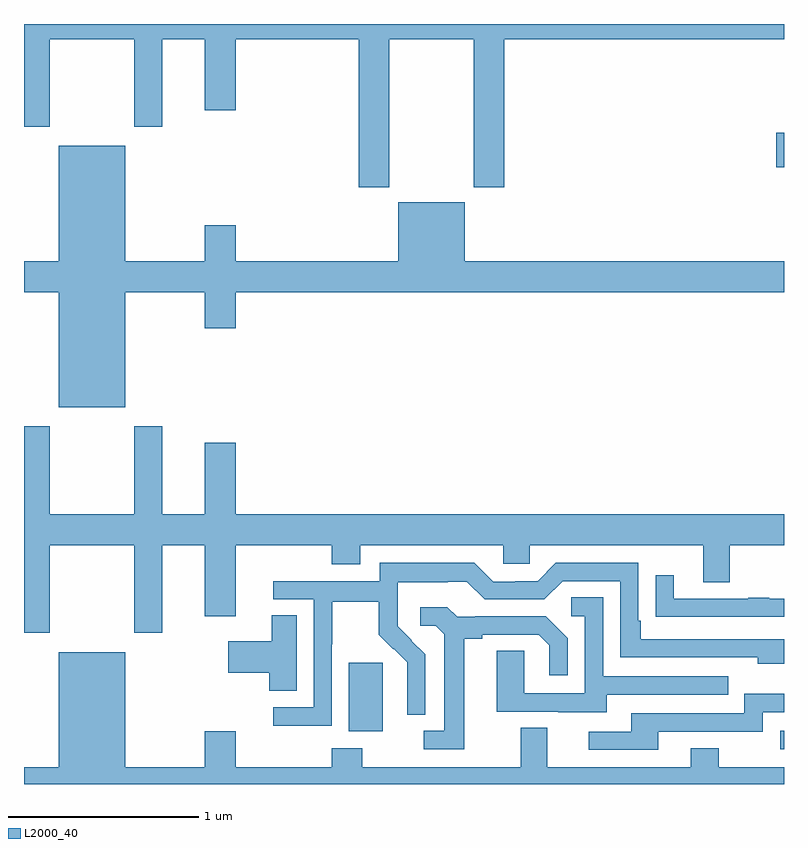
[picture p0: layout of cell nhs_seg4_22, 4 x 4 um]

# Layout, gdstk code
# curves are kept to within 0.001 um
import gdstk
lib = gdstk.Library(unit=1e-6, precision=1e-09)
def R(c, l, rs):  # rectangles x0, y0, x1, y1
    for r in rs: c.add(gdstk.rectangle(r[:2], r[2:], *l))
def P(c, l, *ps):  # polygons
    for p in ps: c.add(gdstk.Polygon(p, *l))
L2000_40 = (2000, 40)

nhs_seg4_22 = lib.new_cell('nhs_seg4_22')
R(nhs_seg4_22, L2000_40, [(114.981,793.083,115,793.179), (112.709,793.178,112.888,793.539), (114.96,796.145,115,796.328)])
P(nhs_seg4_22, L2000_40, [(112.923,796.82),(113.368,796.82),(113.368,796.041),(113.528,796.041),(113.528,796.82),(115,796.82),(115,796.9),(111,796.9),(111,796.359),(111.135,796.359),(111.135,796.82),(111.58,796.82),(111.58,796.359),(111.727,796.359),(111.727,796.82),(111.95,796.82),(111.95,796.446),(112.114,796.446),(112.114,796.82),(112.763,796.82),(112.763,796.041),(112.923,796.041)],
  [(111.532,795.488),(111.95,795.488),(111.95,795.3),(112.114,795.3),(112.114,795.488),(115,795.488),(115,795.652),(113.32,795.652),(113.32,795.961),(112.97,795.961),(112.97,795.652),(112.114,795.652),(112.114,795.841),(111.95,795.841),(111.95,795.652),(111.532,795.652),(111.532,796.258),(111.182,796.258),(111.182,795.652),(111,795.652),(111,795.488),(111.182,795.488),(111.182,794.882),(111.532,794.882)],
  [(111.135,794.156),(111.58,794.156),(111.58,793.695),(111.727,793.695),(111.727,794.156),(111.95,794.156),(111.95,793.782),(112.114,793.782),(112.114,794.156),(112.619,794.156),(112.619,794.057),(112.771,794.057),(112.771,794.156),(113.523,794.156),(113.523,794.058),(113.661,794.058),(113.661,794.156),(114.575,794.156),(114.575,793.962),(114.715,793.962),(114.715,794.156),(115,794.156),(115,794.32),(112.114,794.32),(112.114,794.695),(111.95,794.695),(111.95,794.32),(111.727,794.32),(111.727,794.782),(111.58,794.782),(111.58,794.32),(111.135,794.32),(111.135,794.782),(111,794.782),(111,793.695),(111.135,793.695)],
  [(112.62,793.636),(112.623,793.636),(112.623,793.86),(112.867,793.86),(112.867,793.685),(112.944,793.608),(112.947,793.611),(113.018,793.541),(113.018,793.418),(113.016,793.418),(113.016,793.264),(113.112,793.264),(113.112,793.582),(112.966,793.73),(112.966,793.827),(112.968,793.827),(112.968,793.961),(113.231,793.961),(113.231,793.965),(113.331,793.965),(113.424,793.872),(113.739,793.872),(113.835,793.968),(114.138,793.968),(114.138,793.566),(114.863,793.566),(114.863,793.532),(115,793.532),(115,793.662),(114.247,793.662),(114.247,793.759),(114.234,793.759),(114.234,794.064),(113.799,794.064),(113.703,793.968),(113.585,793.968),(113.585,793.965),(113.469,793.965),(113.369,794.065),(112.872,794.065),(112.872,793.968),(112.311,793.968),(112.311,793.872),(112.524,793.872),(112.524,793.305),(112.311,793.305),(112.311,793.207),(112.62,793.207)],
  [(115,793.875),(114.923,793.875),(114.923,793.88),(114.811,793.88),(114.811,793.875),(114.421,793.875),(114.421,793.999),(114.325,793.999),(114.325,793.78),(114.427,793.78),(114.427,793.779),(115,793.779)],
  [(114.067,793.371),(114.707,793.371),(114.707,793.467),(114.048,793.467),(114.048,793.883),(113.88,793.883),(113.88,793.782),(113.952,793.782),(113.952,793.377),(113.634,793.377),(113.634,793.601),(113.489,793.601),(113.489,793.281),(113.813,793.281),(113.813,793.277),(114.067,793.277)],
  [(113.317,793.664),(113.413,793.664),(113.413,793.686),(113.708,793.686),(113.765,793.629),(113.765,793.473),(113.862,793.473),(113.862,793.666),(113.746,793.782),(113.374,793.782),(113.374,793.779),(113.28,793.779),(113.228,793.831),(113.085,793.831),(113.085,793.734),(113.166,793.734),(113.213,793.687),(113.213,793.179),(113.103,793.179),(113.103,793.083),(113.317,793.083)],
  [(112.435,793.787),(112.304,793.787),(112.304,793.651),(112.074,793.651),(112.074,793.486),(112.292,793.486),(112.292,793.39),(112.435,793.39)],
  [(115,792.988),(114.657,792.988),(114.657,793.087),(114.509,793.087),(114.509,792.988),(113.755,792.988),(113.755,793.196),(113.615,793.196),(113.615,792.988),(112.779,792.988),(112.779,793.087),(112.619,793.087),(112.619,792.988),(112.114,792.988),(112.114,793.177),(111.95,793.177),(111.95,792.988),(111.532,792.988),(111.532,793.594),(111.182,793.594),(111.182,792.988),(111,792.988),(111,792.9),(115,792.9)],
  [(114.337,793.176),(114.888,793.176),(114.888,793.278),(115,793.278),(115,793.375),(114.792,793.375),(114.792,793.272),(114.197,793.272),(114.197,793.176),(113.973,793.176),(113.973,793.08),(114.337,793.08)])

lib.write_gds('nhs_seg4_22.gds')
